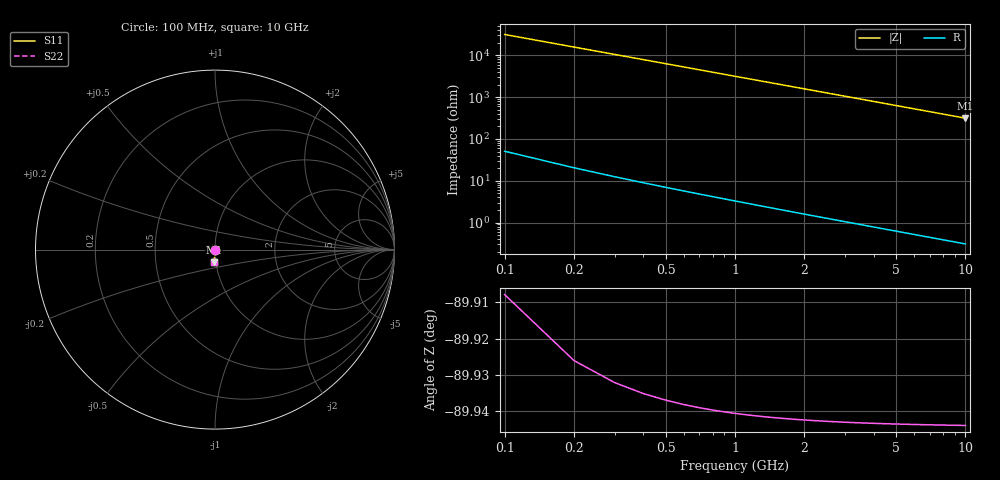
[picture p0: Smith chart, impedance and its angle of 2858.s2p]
# Hz S RI R 50.00
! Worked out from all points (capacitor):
!   100 points, 100 MHz to 10 GHz, reference 50 ohm
!   read as one part in shunt: C = 50.2 fF near 100 MHz
!   lowest |Z| = 315 ohm at 10 GHz (marker M1)
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1e8  4.01e-05 -0.000701  1 -0.000876  1 -0.000876  4.01e-05 -0.000701
2e8  3.78e-05 -0.0014  1 -0.00175  1 -0.00175  3.78e-05 -0.0014
3e8  3.41e-05 -0.0021  0.9999 -0.00263  0.9999 -0.00263  3.41e-05 -0.0021
4e8  2.93e-05 -0.0028  0.9999 -0.0035  0.9999 -0.0035  2.93e-05 -0.0028
5e8  2.31e-05 -0.0035  0.9999 -0.00438  0.9999 -0.00438  2.31e-05 -0.0035
6e8  1.57e-05 -0.00421  0.9999 -0.00526  0.9999 -0.00526  1.57e-05 -0.00421
7e8  7.09e-06 -0.00491  0.9999 -0.00613  0.9999 -0.00613  7.09e-06 -0.00491
8e8  -2.78e-06 -0.00561  0.9999 -0.00701  0.9999 -0.00701  -2.78e-06 -0.00561
9e8  -1.39e-05 -0.00631  0.9999 -0.00789  0.9999 -0.00789  -1.39e-05 -0.00631
1.1e9  -3.98e-05 -0.00771  0.9999 -0.00964  0.9999 -0.00964  -3.98e-05 -0.00771
1.4e9  -8.8e-05 -0.00982  0.9998 -0.0123  0.9998 -0.0123  -8.8e-05 -0.00982
1.8e9  -0.000169 -0.0126  0.9997 -0.0158  0.9997 -0.0158  -0.000169 -0.0126
2.1e9  -0.000244 -0.0147  0.9997 -0.0184  0.9997 -0.0184  -0.000244 -0.0147
2.5e9  -0.00036 -0.0175  0.9995 -0.0219  0.9995 -0.0219  -0.00036 -0.0175
2.9e9  -0.000496 -0.0203  0.9994 -0.0254  0.9994 -0.0254  -0.000496 -0.0203
3.4e9  -0.000693 -0.0239  0.9992 -0.0298  0.9992 -0.0298  -0.000693 -0.0239
4.2e9  -0.00107 -0.0295  0.9988 -0.0369  0.9988 -0.0369  -0.00107 -0.0295
5.1e9  -0.0016 -0.0358  0.9983 -0.0448  0.9983 -0.0448  -0.0016 -0.0358
5.9e9  -0.00215 -0.0414  0.9977 -0.0518  0.9977 -0.0518  -0.00215 -0.0414
6.7e9  -0.00278 -0.047  0.9971 -0.0588  0.9971 -0.0588  -0.00278 -0.047
8.4e9  -0.00439 -0.059  0.9954 -0.0738  0.9954 -0.0738  -0.00439 -0.059
1e10  -0.00623 -0.0702  0.9935 -0.0878  0.9935 -0.0878  -0.00623 -0.0702
